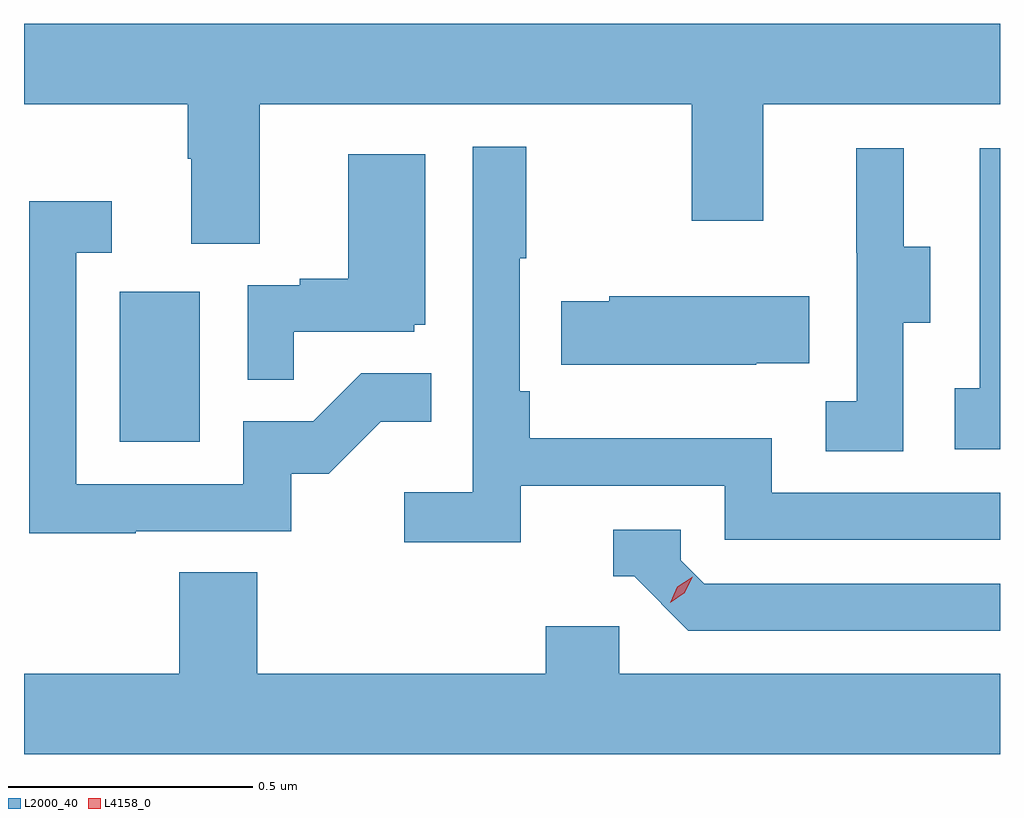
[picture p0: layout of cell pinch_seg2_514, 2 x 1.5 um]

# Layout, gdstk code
import gdstk
lib = gdstk.Library(unit=1e-6, precision=1e-09)
def R(c, l, rs):  # rectangles x0, y0, x1, y1
    for r in rs: c.add(gdstk.rectangle(r[:2], r[2:], *l))
def P(c, l, *ps):  # polygons
    for p in ps: c.add(gdstk.Polygon(p, *l))
L2000_40 = (2000, 40)
L4158_0 = (4158, 0)

pinch_seg2_514 = lib.new_cell('pinch_seg2_514')
R(pinch_seg2_514, L2000_40, [(964.964,589.668,965.128,589.975)])
P(pinch_seg2_514, L2000_40, [(965.251,590.36),(966.136,590.36),(966.136,590.121),(966.283,590.121),(966.283,590.36),(966.768,590.36),(966.768,590.524),(964.768,590.524),(964.768,590.36),(965.104,590.36),(965.104,590.248),(965.111,590.248),(965.111,590.074),(965.251,590.074)],
  [(965.786,589.578),(966.204,589.578),(966.204,589.467),(966.768,589.467),(966.768,589.563),(966.3,589.563),(966.3,589.675),(965.804,589.675),(965.804,589.771),(965.784,589.771),(965.784,590.044),(965.797,590.044),(965.797,590.272),(965.688,590.272),(965.688,589.564),(965.547,589.564),(965.547,589.462),(965.786,589.462)],
  [(966.768,590.269),(966.726,590.269),(966.726,589.778),(966.675,589.778),(966.675,589.653),(966.768,589.653)],
  [(966.57,589.912),(966.625,589.912),(966.625,590.067),(966.571,590.067),(966.571,590.269),(966.473,590.269),(966.473,590.055),(966.474,590.055),(966.474,589.751),(966.411,589.751),(966.411,589.648),(966.57,589.648)],
  [(965.321,589.893),(965.568,589.893),(965.568,589.908),(965.59,589.908),(965.59,590.257),(965.432,590.257),(965.432,590.002),(965.333,590.002),(965.333,589.989),(965.226,589.989),(965.226,589.795),(965.321,589.795)],
  [(964.997,589.485),(965.316,589.485),(965.316,589.602),(965.392,589.602),(965.499,589.709),(965.603,589.709),(965.603,589.808),(965.459,589.808),(965.361,589.71),(965.217,589.71),(965.217,589.581),(964.875,589.581),(964.875,590.055),(964.948,590.055),(964.948,590.161),(964.779,590.161),(964.779,589.48),(964.997,589.48)],
  [(966.269,589.829),(966.377,589.829),(966.377,589.966),(965.967,589.966),(965.967,589.956),(965.869,589.956),(965.869,589.826),(966.269,589.826)],
  [(966.768,589.377),(966.162,589.377),(966.114,589.425),(966.114,589.488),(965.975,589.488),(965.975,589.392),(966.018,589.392),(966.129,589.281),(966.768,589.281)],
  [(966.768,589.192),(965.988,589.192),(965.988,589.29),(965.837,589.29),(965.837,589.192),(965.246,589.192),(965.246,589.4),(965.086,589.4),(965.086,589.192),(964.768,589.192),(964.768,589.028),(966.768,589.028)])
P(pinch_seg2_514, L4158_0, [(966.092,589.338),(966.092,589.338),(966.107,589.371),(966.138,589.391),(966.138,589.391),(966.138,589.391),(966.122,589.358),(966.092,589.338)])

lib.write_gds('pinch_seg2_514.gds')
